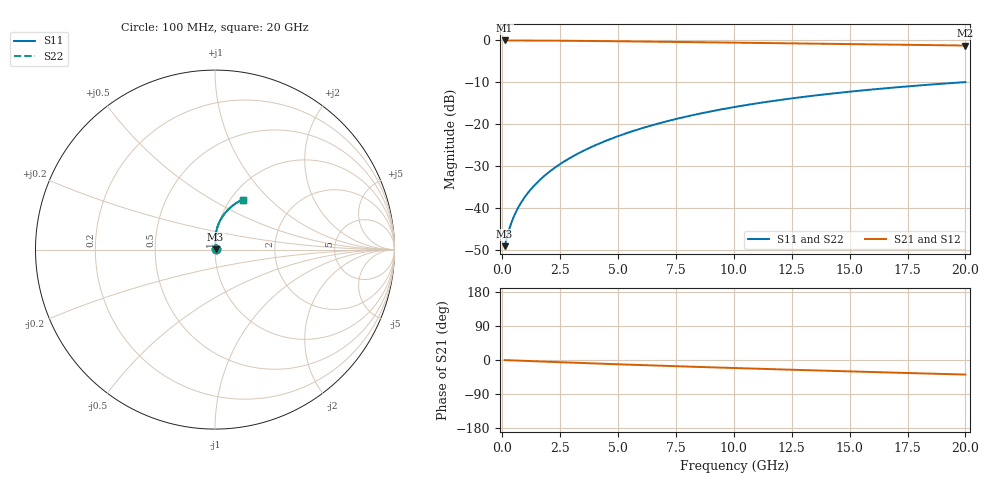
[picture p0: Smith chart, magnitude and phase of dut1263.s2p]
! Touchstone file exported from HFSS 2024.1.0
!  File:  C:/UserFiles/LocalFiles/RDL_TSV_Batchsim/temp_RDL_top_1263_1780241840.aedt
!  Generated:  11:39:48 PM May 31, 2026
!  Design:  RDL_top
!  Project:  temp_RDL_top_1263_1780241840
!  Setup:  Setup1
!  Solution:  Sweep
! Variables:
!  dtsv = 10.80580581um
!  hbump = 3um
!  htsv = 50.38um
!  ldown = 100um
!  lrdl = 570.94um
!  p = 40
!  p1 = 47.6um
!  rhole = 1um
!  t = 450um
!  tdown = 3.915915916um
!  trdl = 2.7um
!  wdown = 15.38538539um
!  wrdl = 25.96um
# GHz S MA R 50.000000
! Terminal data exported
! Port[1] = Box2_T1
! Port[2] = Box2_T2
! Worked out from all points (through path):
!   200 points, 100 MHz to 20 GHz, reference 50 ohm
!   highest |S21| = -0.03 dB at 100 MHz (marker M1); lowest = -1.2 dB at 20 GHz (marker M2)
!   group delay of S21, straight-line fit = 5.27 ps
!   lowest |S11| = -49.0 dB at 100 MHz (marker M3), VSWR 1.01, Z = 50.3 + j0.156 ohm
!   |S11| at or under -10 dB: start of sweep to 19.86 GHz
!   |S22| runs from -49.0 to -9.9 dB; largest |S21 - S12| = 2.7e-15
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0.1  0.00354 26.0  0.9968 -0.3  0.9968 -0.3  0.00354 26.0
! Gamma 0 0 0 0
! Port Impedance 50 0 50 0
0.3  0.00565 51.8  0.9964 -0.7  0.9964 -0.7  0.00565 51.8
0.4  0.006829 57.7  0.9961 -1.0  0.9961 -1.0  0.006829 57.7
0.5  0.008005 61.9  0.9959 -1.2  0.9959 -1.2  0.008005 61.9
0.6  0.009179 65.2  0.9957 -1.5  0.9957 -1.5  0.009178 65.2
0.8  0.01154 70.1  0.9952 -1.9  0.9952 -1.9  0.01154 70.1
1  0.01395 73.6  0.9948 -2.4  0.9948 -2.4  0.01395 73.6
1.2  0.01641 76.3  0.9943 -2.8  0.9943 -2.8  0.01641 76.3
1.7  0.0228 80.8  0.9928 -4.0  0.9928 -4.0  0.0228 80.9
2.2  0.0295 83.6  0.991 -5.2  0.991 -5.2  0.02951 83.6
2.8  0.03794 85.7  0.9883 -6.5  0.9883 -6.5  0.03795 85.7
3.5  0.04832 87.0  0.9847 -8.1  0.9847 -8.1  0.04833 87.0
4.2  0.05924 87.6  0.9805 -9.6  0.9805 -9.6  0.05926 87.6
5  0.07229 87.6  0.9753 -11.3  0.9753 -11.3  0.07232 87.6
5.9  0.08756 86.9  0.9691 -13.2  0.9691 -13.2  0.08759 87.0
6.8  0.1033 85.9  0.9626 -15.0  0.9626 -15.0  0.1033 85.9
8.4  0.1317 83.4  0.9508 -18.1  0.9508 -18.1  0.1318 83.4
10.1  0.162 80.2  0.9382 -21.3  0.9382 -21.3  0.1621 80.3
11.7  0.1899 77.1  0.9265 -24.3  0.9265 -24.3  0.19 77.1
13.4  0.2187 73.7  0.9142 -27.3  0.9142 -27.3  0.2188 73.7
16.7  0.271 67.2  0.8905 -33.0  0.8905 -33.0  0.2711 67.3
20  0.3181 61.2  0.8672 -38.4  0.8672 -38.4  0.3182 61.2
